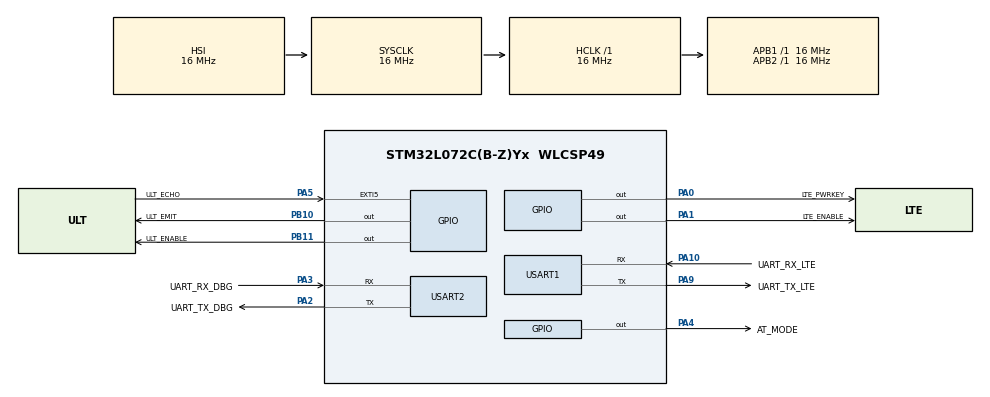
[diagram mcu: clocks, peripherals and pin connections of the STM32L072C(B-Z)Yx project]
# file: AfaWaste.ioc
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ADC.ClockPrescaler=ADC_CLOCK_SYNC_PCLK_DIV4
ADC.EOCSelection=ADC_EOC_SINGLE_CONV
ADC.SamplingTime=ADC_SAMPLETIME_160CYCLES_5
Mcu.Family=STM32L0
Mcu.Name=STM32L072C(B-Z)Yx
Mcu.Package=WLCSP49
NVIC.ADC1_COMP_IRQn=true\:0\:0\:false\:false\:true\:true\:true
NVIC.EXTI4_15_IRQn=true\:0\:0\:false\:false\:true\:true\:true
NVIC.RTC_IRQn=true\:0\:0\:false\:false\:true\:true\:true
NVIC.USART1_IRQn=true\:0\:0\:false\:false\:true\:true\:true
NVIC.USART2_IRQn=true\:0\:0\:false\:false\:true\:true\:true
PA0.GPIO_Label=LTE_PWRKEY
PA0.GPIO_PuPd=GPIO_PULLDOWN
PA0.Signal=GPIO_Output
PA1.GPIO_Label=LTE_ENABLE
PA1.GPIO_PuPd=GPIO_PULLDOWN
PA1.PinState=GPIO_PIN_RESET
PA1.Signal=GPIO_Output
PA10.GPIO_Label=UART_RX_LTE
PA10.Mode=Asynchronous
PA10.Signal=USART1_RX
PA13.Mode=Serial_Wire
PA13.Signal=SYS_SWDIO
PA14.Mode=Serial_Wire
PA14.Signal=SYS_SWCLK
PA2.GPIO_Label=UART_TX_DBG
PA2.Mode=Asynchronous
PA2.Signal=USART2_TX
PA3.GPIO_Label=UART_RX_DBG
PA3.Mode=Asynchronous
PA3.Signal=USART2_RX
PA4.GPIO_Label=AT_MODE
PA4.GPIO_PuPd=GPIO_PULLDOWN
PA4.Signal=GPIO_Output
PA5.GPIO_Label=ULT_ECHO
PA5.GPIO_ModeDefaultEXTI=GPIO_MODE_IT_FALLING
PA5.GPIO_PuPd=GPIO_PULLUP
PA5.Signal=GPXTI5
PA9.GPIO_Label=UART_TX_LTE
PA9.Mode=Asynchronous
PA9.Signal=USART1_TX
PB10.GPIO_Label=ULT_EMIT
PB10.GPIO_PuPd=GPIO_PULLDOWN
PB10.Signal=GPIO_Output
PB11.GPIO_Label=ULT_ENABLE
PB11.GPIO_PuPd=GPIO_PULLDOWN
PB11.Signal=GPIO_Output
PC14-OSC32_IN.Mode=LSE-External-Oscillator
PC14-OSC32_IN.Signal=RCC_OSC32_IN
PC15-OSC32_OUT.Mode=LSE-External-Oscillator
PC15-OSC32_OUT.Signal=RCC_OSC32_OUT
ProjectManager.HeapSize=0x200
ProjectManager.StackSize=0x400
ProjectManager.TargetToolchain=STM32CubeIDE
RCC.AHBFreq_Value=16000000
RCC.APB1Freq_Value=16000000
RCC.APB1TimFreq_Value=16000000
RCC.APB2Freq_Value=16000000
RCC.APB2TimFreq_Value=16000000
RCC.HCLKFreq_Value=16000000
RCC.HSE_VALUE=8000000
RCC.HSI16_VALUE=16000000
RCC.HSI48_VALUE=48000000
RCC.HSI_VALUE=16000000
RCC.MSI_VALUE=2097000
RCC.RTCClockSelection=RCC_RTCCLKSOURCE_LSE
RCC.SYSCLKFreq_VALUE=16000000
RCC.SYSCLKSource=RCC_SYSCLKSOURCE_HSI
RCC.VCOOutputFreq_Value=48000000
RTC.WakeUpClock-WakeUp=RTC_WAKEUPCLOCK_CK_SPRE_16BITS
RTC.WakeUpCounter-WakeUp=600
TIM2.Period=65534
TIM2.Prescaler=15
USART1.VirtualMode-Asynchronous=VM_ASYNC
USART2.VirtualMode-Asynchronous=VM_ASYNC
VP_ADC_TempSens_Input.Mode=IN-TempSens
VP_ADC_Vref_Input.Mode=IN-Vrefint
VP_RTC_VS_RTC_Activate.Mode=RTC_Enabled
VP_RTC_VS_RTC_WakeUp_intern.Mode=WakeUp
VP_TIM2_VS_ClockSourceINT.Mode=Internal
board=custom

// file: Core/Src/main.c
/* USER CODE BEGIN Header */
/**
 ******************************************************************************
 * @file           : main.c
 * @brief          : Main program body
 ******************************************************************************
 * @attention
 *
 * <h2><center>&copy; Copyright (c) 2021 STMicroelectronics.
 * All rights reserved.</center></h2>
 *
 * This software component is licensed by ST under BSD 3-Clause license,
 * the "License"; You may not use this file except in compliance with the
 * License. You may obtain a copy of the License at:
 *                        opensource.org/licenses/BSD-3-Clause
 *
 ******************************************************************************
 */
/* USER CODE END Header */
#include "main.h"
#include "adc.h"
#include "rtc.h"
#include "tim.h"
#include "usart.h"
#include "gpio.h"

/* USER CODE BEGIN Includes */
#include "usr.h"
#include "waste.h"
#include "lte.h"
#include <stdio.h>

/* USER CODE END Includes */

void SystemClock_Config(void);

int main(void) {

	/* MCU Configuration--------------------------------------------------------*/

	/* Reset of all peripherals, Initializes the Flash interface and the Systick. */
	HAL_Init();

	/* Configure the system clock */
	SystemClock_Config();

	/* Initialize all configured peripherals */
	MX_GPIO_Init();
	MX_RTC_Init();
	MX_TIM2_Init();
	MX_USART1_UART_Init();
	MX_USART2_UART_Init();
	MX_ADC_Init();
	/* USER CODE BEGIN 2 */
	UartSettings();
	WasteInit();

	HAL_Delay(5000);
	DebugSendData("Start App", 9);
	/* USER CODE END 2 */

	/* Infinite loop */
	/* USER CODE BEGIN WHILE */
	while (1) {
		DebugSendData("While Start", 11);
		HAL_Delay(1000);
		if (rtcParameters.wakeUpFlag) {
			MainProc();
		}
		rtcParameters.wakeUpFlag = 0;
		DebugSendData("Sleep Mode", 10);
		HAL_SuspendTick();
		HAL_PWR_EnterSTOPMode( PWR_LOWPOWERREGULATOR_ON, PWR_STOPENTRY_WFI);
		/* USER CODE END WHILE */

	}
}

void SystemClock_Config(void) {
	RCC_OscInitTypeDef RCC_OscInitStruct = { 0 };
	RCC_ClkInitTypeDef RCC_ClkInitStruct = { 0 };
	RCC_PeriphCLKInitTypeDef PeriphClkInit = { 0 };

	/** Configure the main internal regulator output voltage
	 */
	__HAL_PWR_VOLTAGESCALING_CONFIG(PWR_REGULATOR_VOLTAGE_SCALE1);
	/** Configure LSE Drive Capability
	 */
	HAL_PWR_EnableBkUpAccess();
	__HAL_RCC_LSEDRIVE_CONFIG(RCC_LSEDRIVE_LOW);
	/** Initializes the RCC Oscillators according to the specified parameters
	 * in the RCC_OscInitTypeDef structure.
	 */
	RCC_OscInitStruct.OscillatorType = RCC_OSCILLATORTYPE_HSI | RCC_OSCILLATORTYPE_LSE;
	RCC_OscInitStruct.LSEState = RCC_LSE_ON;
	RCC_OscInitStruct.HSIState = RCC_HSI_ON;
	RCC_OscInitStruct.HSICalibrationValue = RCC_HSICALIBRATION_DEFAULT;
	RCC_OscInitStruct.PLL.PLLState = RCC_PLL_NONE;
	if (HAL_RCC_OscConfig(&RCC_OscInitStruct) != HAL_OK) {
		Error_Handler();
	}
	/** Initializes the CPU, AHB and APB buses clocks
	 */
	RCC_ClkInitStruct.ClockType = RCC_CLOCKTYPE_HCLK | RCC_CLOCKTYPE_SYSCLK | RCC_CLOCKTYPE_PCLK1 | RCC_CLOCKTYPE_PCLK2;
	RCC_ClkInitStruct.SYSCLKSource = RCC_SYSCLKSOURCE_HSI;
	RCC_ClkInitStruct.AHBCLKDivider = RCC_SYSCLK_DIV1;
	RCC_ClkInitStruct.APB1CLKDivider = RCC_HCLK_DIV1;
	RCC_ClkInitStruct.APB2CLKDivider = RCC_HCLK_DIV1;

	if (HAL_RCC_ClockConfig(&RCC_ClkInitStruct, FLASH_LATENCY_0) != HAL_OK) {
		Error_Handler();
	}
	PeriphClkInit.PeriphClockSelection = RCC_PERIPHCLK_USART1 | RCC_PERIPHCLK_USART2 | RCC_PERIPHCLK_RTC;
	PeriphClkInit.Usart1ClockSelection = RCC_USART1CLKSOURCE_PCLK2;
	PeriphClkInit.Usart2ClockSelection = RCC_USART2CLKSOURCE_PCLK1;
	PeriphClkInit.RTCClockSelection = RCC_RTCCLKSOURCE_LSE;
	if (HAL_RCCEx_PeriphCLKConfig(&PeriphClkInit) != HAL_OK) {
		Error_Handler();
	}
}

/* USER CODE BEGIN 4 */
void MainProc() {
	DebugSendData("Wake Up", 7);
	adcParameters.adcReadEnableFlag = 1;
	DebugSendData("Enable Adc", 10);
	HAL_ADC_Start_IT(&hadc);
	HAL_Delay(3000);
	wasteParameters.voltVal = adcParameters.supplyVoltage;
	wasteParameters.tempVal = adcParameters.tempCelcius;
	if (wasteParameters.tempVal > 100) {
		wasteParameters.tempVal = wasteParameters.tempVal % 100;
	}
	DebugSendData("Disable Adc", 11);
	adcParameters.adcReadEnableFlag = 0;
	if (wasteParameters.setupMode) {

		wasteParameters.setupCount++;

		if (wasteParameters.setupCount >= SETUP_WORK_PERIOD) {
			wasteParameters.setupMode = 0;
		}
	}
	wasteParameters.gpsAlarmCount++;
	if (wasteParameters.gpsAlarmCount >= ALARM_WORK_PERIOD) {
		wasteParameters.gpsAlarmCount = 0;
	}
	if (wasteParameters.setupMode) {
		DebugSendData("Setup Mode Enable", 17);
	} else {
		DebugSendData("Setup Mode Disable", 18);
	}
	if (wasteParameters.preDataSendError) {
		DebugSendData("Prev Data Send Error", 20);
	} else {
		DebugSendData("Prev Data Send Success", 22);
	}
	if (wasteParameters.gpsAlarm) {
		DebugSendData("Gps Alarm Enable", 16);
	} else {
		DebugSendData("Gps Alarm Disable", 17);
	}
	if (wasteParameters.ultSensCount == 0) {
		if (wasteParameters.ultSensIndex >= USR_MEASURE_TOTAL_COUNT) {
			wasteParameters.ultSensIndex = 0;
		}
		if (wasteParameters.ultSensIndex == 0) {
			for (int i = 0; i < usrParameters.measureRepTotalCount; ++i) {
				usrParameters.usrMeasTotalArray[i] = 0;
			}
		}

		UsrEnable();
		HAL_Delay(1000);
		UsrMeasure();
		HAL_Delay(1000);
		UsrDisable();
		HAL_Delay(1000);
		wasteParameters.ultSensIndex++;
	}
	wasteParameters.ultSensCount++;
	if (wasteParameters.ultSensCount >= ULTL_WORK_PERIOD) {
		wasteParameters.ultSensCount = 0;
	}
	if (wasteParameters.wakeUpCount == 0 || wasteParameters.tempVal >= CRITICAL_TEMPERATURE || (wasteParameters.setupMode) || (wasteParameters.preDataSendError == 1 && wasteParameters.wakeUpCount == ALARM_WORK_PERIOD) || wasteParameters.gpsAlarm == 1) {

		wasteParameters.wakeUpCount = 0;
		LTEInitParams();
		DebugSendData("LTE Op Start", 12);
		if (wasteParameters.gpsAlarm == 0) {
			LTEEnable();
			HAL_Delay(1000);
			LTEPowerOn();
			HAL_Delay(1000);
			if (lteParameters.uartResMessage == MESG_POWERDOWN) {
				DebugSendData("Power On Again", 14);
				LTEPowerOn();
				HAL_Delay(1000);
			}
		}
		wasteParameters.preDataSendError = 1;
		LTEAt();
		HAL_Delay(1000);
		LTEGetIMEI();
		HAL_Delay(1000);
		LTEGetImsi();
		HAL_Delay(1000);
		SetSendData();
		HAL_Delay(1000);
		LTEPdpConfigure();
		HAL_Delay(1000);
		LTEPdpOpen();
		HAL_Delay(1000);
		LTEOpenConnection();
		HAL_Delay(1000);
		LTEPrepToSendData();
		HAL_Delay(1000);
		LTESendMsg();
		HAL_Delay(1000);
		LTEReceiveMsg();
		HAL_Delay(1000);
		LTECloseConnection();
		HAL_Delay(1000);
		LTEPdpClose();
		HAL_Delay(1000);
		if (wasteParameters.gpsAlarm == 0) {
			LTEPowerOff();
			HAL_Delay(1000);
			LTEPowerOffWithUart();
			HAL_Delay(1000);
			LTEDisable();
		}
		DebugSendData("LTE Op Stop", 11);
		lteParameters.contexId++;
		lteParameters.sessionId++;
		if (lteParameters.contexId >= 9)
			lteParameters.contexId = 1;
		if (lteParameters.contexId >= 9)
			lteParameters.sessionId = 0;

	}

	wasteParameters.wakeUpCount++;
	if (wasteParameters.wakeUpCount >= NORMAL_WORK_PERIOD) {
		wasteParameters.wakeUpCount = 0;
	}
}
void SetSendData() {
	memset(lteParameters.msgToSend, '*', 215);
	DebugSendData("Set Send Data", 13);
	lteParameters.msgToSend[0] = 'U';
	lteParameters.msgToSend[1] = 'L';
	lteParameters.msgToSend[2] = 'T';
	lteParameters.msgToSend[3] = '#';

	for (int i = 4; i < 19; i++)
		sprintf(&lteParameters.msgToSend[i], "%c", lteParameters.imeiNum[i - 4]);

	lteParameters.msgToSend[19] = '#';
	sprintf(&lteParameters.msgToSend[20], "%d", ((uint8_t) (wasteParameters.tempVal % 1000) - (uint8_t) (wasteParameters.tempVal % 100)) / 100);
	sprintf(&lteParameters.msgToSend[21], "%d", ((uint8_t) (wasteParameters.tempVal % 100) - (uint8_t) (wasteParameters.tempVal % 10)) / 10);
	sprintf(&lteParameters.msgToSend[22], "%d", (uint8_t) (wasteParameters.tempVal % 10));

	lteParameters.msgToSend[23] = '#';
	sprintf(&lteParameters.msgToSend[24], "%d", ((uint16_t) (wasteParameters.voltVal) - (uint16_t) (wasteParameters.voltVal % 1000)) / 1000);
	sprintf(&lteParameters.msgToSend[25], "%d", ((uint16_t) (wasteParameters.voltVal % 1000) - (uint16_t) (wasteParameters.voltVal % 100)) / 100);
	sprintf(&lteParameters.msgToSend[26], "%d", ((uint16_t) (wasteParameters.voltVal % 100) - (uint16_t) (wasteParameters.voltVal % 10)) / 10);
	sprintf(&lteParameters.msgToSend[27], "%d", (uint16_t) (wasteParameters.voltVal % 10));

	lteParameters.msgToSend[28] = '#';

	for (int i = 0; i < 11; i++)
		sprintf(&lteParameters.msgToSend[29 + i], "%c", lteParameters.latitudeData[i]);

	lteParameters.msgToSend[40] = '#';

	for (int i = 0; i < 11; i++)
		sprintf(&lteParameters.msgToSend[41 + i], "%c", lteParameters.longitudeData[i]);

	lteParameters.msgToSend[52] = '#';
	for (int i = 53; i < 68; i++)
		sprintf(&lteParameters.msgToSend[i], "%c", lteParameters.imsiNum[i - 53]);

	lteParameters.msgToSend[68] = '#';
	sprintf(&lteParameters.msgToSend[69], "%d", ((uint16_t) (wasteParameters.ultSensIndex % 100) - (uint16_t) (wasteParameters.ultSensIndex % 10)) / 10);
	sprintf(&lteParameters.msgToSend[70], "%d", (uint16_t) (wasteParameters.ultSensIndex % 10));
	uint8_t ind = 71;
	for (uint16_t cnt = 0; cnt < usrParameters.measureRepTotalCount; cnt++) {
		lteParameters.msgToSend[ind] = '#';
		ind++;
		sprintf(&lteParameters.msgToSend[ind], "%d", ((uint16_t) (usrParameters.usrMeasTotalArray[cnt] % 100000) - (uint16_t) (usrParameters.usrMeasTotalArray[cnt] % 10000)) / 10000);
		ind++;
		sprintf(&lteParameters.msgToSend[ind], "%d", ((uint16_t) (usrParameters.usrMeasTotalArray[cnt] % 10000) - (uint16_t) (usrParameters.usrMeasTotalArray[cnt] % 1000)) / 1000);
		ind++;
		sprintf(&lteParameters.msgToSend[ind], "%d", ((uint16_t) (usrParameters.usrMeasTotalArray[cnt] % 1000) - (uint16_t) (usrParameters.usrMeasTotalArray[cnt] % 100)) / 100);
		ind++;
		sprintf(&lteParameters.msgToSend[ind], "%d", ((uint16_t) (usrParameters.usrMeasTotalArray[cnt] % 100) - (uint16_t) (usrParameters.usrMeasTotalArray[cnt] % 10)) / 10);
		ind++;
		sprintf(&lteParameters.msgToSend[ind], "%d", (uint16_t) (usrParameters.usrMeasTotalArray[cnt] % 10));
		ind++;
	}

	DebugSendData(lteParameters.msgToSend, 215);
}
/* USER CODE END 4 */

void Error_Handler(void) {
	__disable_irq();
	while (1) {
	}
}

/************************ (C) COPYRIGHT STMicroelectronics *****END OF FILE****/
